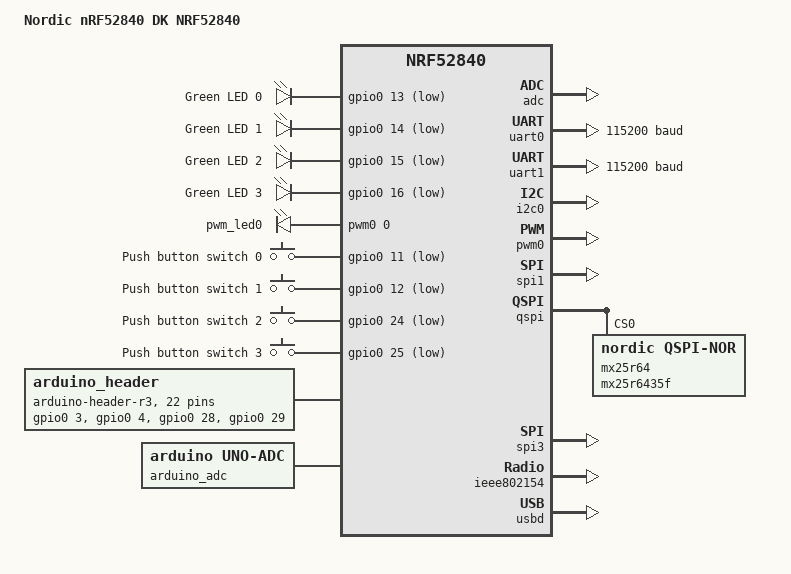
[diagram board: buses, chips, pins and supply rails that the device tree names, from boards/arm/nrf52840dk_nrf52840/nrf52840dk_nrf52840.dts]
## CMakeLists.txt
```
# SPDX-License-Identifier: Apache-2.0

cmake_minimum_required(VERSION 3.13.1)

find_package(Zephyr REQUIRED HINTS $ENV{ZEPHYR_BASE})
project(nrfx_sample)

target_sources(app PRIVATE src/main.c 
                           src/Comparator/CompHandler.c
                           src/PPI/PPIHandler.c
                           src/Timer/TimerHandler.c
                           src/CapSense/CapSense.c)

target_include_directories(app PRIVATE  src/PPI
                                        src/Comparator
                                        src/Timer
                                        src/CapSense
                                        src)
```

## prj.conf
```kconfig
CONFIG_GPIO=y
CONFIG_NRFX_COMP=y
CONFIG_NRFX_TIMER1=y
CONFIG_LOG=y
CONFIG_LOG_PROCESS_THREAD_SLEEP_MS=100 
```

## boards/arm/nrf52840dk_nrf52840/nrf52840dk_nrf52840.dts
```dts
/*
 * Copyright (c) 2017 Linaro Limited
 *
 * SPDX-License-Identifier: Apache-2.0
 */

/dts-v1/;
#include <nordic/nrf52840_qiaa.dtsi>
#include "nrf52840dk_nrf52840-pinctrl.dtsi"

/ {
	model = "Nordic nRF52840 DK NRF52840";
	compatible = "nordic,nrf52840-dk-nrf52840";

	chosen {
		zephyr,console = &uart0;
		zephyr,shell-uart = &uart0;
		zephyr,uart-mcumgr = &uart0;
		zephyr,bt-mon-uart = &uart0;
		zephyr,bt-c2h-uart = &uart0;
		zephyr,sram = &sram0;
		zephyr,flash = &flash0;
		zephyr,code-partition = &slot0_partition;
		zephyr,ieee802154 = &ieee802154;
	};

	leds {
		compatible = "gpio-leds";
		led0: led_0 {
			gpios = <&gpio0 13 GPIO_ACTIVE_LOW>;
			label = "Green LED 0";
		};
		led1: led_1 {
			gpios = <&gpio0 14 GPIO_ACTIVE_LOW>;
			label = "Green LED 1";
		};
		led2: led_2 {
			gpios = <&gpio0 15 GPIO_ACTIVE_LOW>;
			label = "Green LED 2";
		};
		led3: led_3 {
			gpios = <&gpio0 16 GPIO_ACTIVE_LOW>;
			label = "Green LED 3";
		};
	};
	
	powerpins {
		testpin0: testpin_0 {
			compatible = "eac,testpin";
			gpios = <&gpio1 11 GPIO_ACTIVE_LOW>;
			status = "okay";
		};
		testpin1: testpin_1 {
			compatible = "eac,testpin";
			gpios = <&gpio1 10 GPIO_ACTIVE_LOW>;
			status = "okay";
		};
	};
	
	pwmleds {
		compatible = "pwm-leds";
		pwm_led0: pwm_led_0 {
			pwms = <&pwm0 0 PWM_MSEC(20) PWM_POLARITY_INVERTED>;
		};
	};

	buttons {
		compatible = "gpio-keys";
		button0: button_0 {
			gpios = <&gpio0 11 (GPIO_PULL_UP | GPIO_ACTIVE_LOW)>;
			label = "Push button switch 0";
		};
		button1: button_1 {
			gpios = <&gpio0 12 (GPIO_PULL_UP | GPIO_ACTIVE_LOW)>;
			label = "Push button switch 1";
		};
		button2: button_2 {
			gpios = <&gpio0 24 (GPIO_PULL_UP | GPIO_ACTIVE_LOW)>;
			label = "Push button switch 2";
		};
		button3: button_3 {
			gpios = <&gpio0 25 (GPIO_PULL_UP | GPIO_ACTIVE_LOW)>;
			label = "Push button switch 3";
		};
	};

	arduino_header: connector {
		compatible = "arduino-header-r3";
		#gpio-cells = <2>;
		gpio-map-mask = <0xffffffff 0xffffffc0>;
		gpio-map-pass-thru = <0 0x3f>;
		gpio-map = <0 0 &gpio0 3 0>,	/* A0 */
			   <1 0 &gpio0 4 0>,	/* A1 */
			   <2 0 &gpio0 28 0>,	/* A2 */
			   <3 0 &gpio0 29 0>,	/* A3 */
			   <4 0 &gpio0 30 0>,	/* A4 */
			   <5 0 &gpio0 31 0>,	/* A5 */
			   <6 0 &gpio1 1 0>,	/* D0 */
			   <7 0 &gpio1 2 0>,	/* D1 */
			   <8 0 &gpio1 3 0>,	/* D2 */
			   <9 0 &gpio1 4 0>,	/* D3 */
			   <10 0 &gpio1 5 0>,	/* D4 */
			   <11 0 &gpio1 6 0>,	/* D5 */
			   <12 0 &gpio1 7 0>,	/* D6 */
			   <13 0 &gpio1 8 0>,	/* D7 */
			   <14 0 &gpio1 10 0>,	/* D8 */
			   <15 0 &gpio1 11 0>,	/* D9 */
			   <16 0 &gpio1 12 0>,	/* D10 */
			   <17 0 &gpio1 13 0>,	/* D11 */
			   <18 0 &gpio1 14 0>,	/* D12 */
			   <19 0 &gpio1 15 0>,	/* D13 */
			   <20 0 &gpio0 26 0>,	/* D14 */
			   <21 0 &gpio0 27 0>;	/* D15 */
	};

	arduino_adc: analog-connector {
		compatible = "arduino,uno-adc";
		#io-channel-cells = <1>;
		io-channel-map = <0 &adc 1>;	/* A0 = P0.3 = AIN1 */
	};

	/* These aliases are provided for compatibility with samples */
	aliases {
		led0 = &led0;
		led1 = &led1;
		led2 = &led2;
		led3 = &led3;
		pwm-led0 = &pwm_led0;
		testpin0 = &testpin0;
		testpin1 = &testpin1;
		sw0 = &button0;
		sw1 = &button1;
		sw2 = &button2;
		sw3 = &button3;
		bootloader-led0 = &led0;
		mcuboot-button0 = &button0;
		mcuboot-led0 = &led0;
		watchdog0 = &wdt0;
		spi-flash0 = &mx25r64;
	};
};

&adc {
	status = "okay";
};

&gpiote {
	status = "okay";
};

&gpio0 {
	status = "okay";
};

&gpio1 {
	status = "okay";
};

&uart0 {
	compatible = "nordic,nrf-uarte";
	status = "okay";
	current-speed = <115200>;
	pinctrl-0 = <&uart0_default>;
	pinctrl-1 = <&uart0_sleep>;
	pinctrl-names = "default", "sleep";
};

arduino_serial: &uart1 {
	current-speed = <115200>;
	pinctrl-0 = <&uart1_default>;
	pinctrl-1 = <&uart1_sleep>;
	pinctrl-names = "default", "sleep";
};

arduino_i2c: &i2c0 {
	compatible = "nordic,nrf-twi";
	status = "okay";
	pinctrl-0 = <&i2c0_default>;
	pinctrl-1 = <&i2c0_sleep>;
	pinctrl-names = "default", "sleep";
};

&i2c1 {
	compatible = "nordic,nrf-twi";
	/* Cannot be used together with spi1. */
	/* status = "okay"; */
	pinctrl-0 = <&i2c1_default>;
	pinctrl-1 = <&i2c1_sleep>;
	pinctrl-names = "default", "sleep";
};

&pwm0 {
	status = "okay";
	pinctrl-0 = <&pwm0_default>;
	pinctrl-1 = <&pwm0_sleep>;
	pinctrl-names = "default", "sleep";
};

&spi0 {
	compatible = "nordic,nrf-spi";
	/* Cannot be used together with i2c0. */
	/* status = "okay"; */
	pinctrl-0 = <&spi0_default>;
	pinctrl-1 = <&spi0_sleep>;
	pinctrl-names = "default", "sleep";
};

&spi1 {
	compatible = "nordic,nrf-spi";
	status = "okay";
	pinctrl-0 = <&spi1_default>;
	pinctrl-1 = <&spi1_sleep>;
	pinctrl-names = "default", "sleep";
};

&spi2 {
	compatible = "nordic,nrf-spi";
	status = "disabled";
	pinctrl-0 = <&spi2_default>;
	pinctrl-1 = <&spi2_sleep>;
	pinctrl-names = "default", "sleep";
};

&qspi {
	status = "okay";
	pinctrl-0 = <&qspi_default>;
	pinctrl-1 = <&qspi_sleep>;
	pinctrl-names = "default", "sleep";
	mx25r64: mx25r6435f@0 {
		compatible = "nordic,qspi-nor";
		reg = <0>;
		/* MX25R64 supports only pp and pp4io */
		writeoc = "pp4io";
		/* MX25R64 supports all readoc options */
		readoc = "read4io";
		sck-frequency = <8000000>;
		jedec-id = [c2 28 17];
		sfdp-bfp = [
			e5 20 f1 ff  ff ff ff 03  44 eb 08 6b  08 3b 04 bb
			ee ff ff ff  ff ff 00 ff  ff ff 00 ff  0c 20 0f 52
			10 d8 00 ff  23 72 f5 00  82 ed 04 cc  44 83 68 44
			30 b0 30 b0  f7 c4 d5 5c  00 be 29 ff  f0 d0 ff ff
		];
		size = <67108864>;
		has-dpd;
		t-enter-dpd = <10000>;
		t-exit-dpd = <35000>;
	};
};

arduino_spi: &spi3 {
	status = "okay";
	cs-gpios = <&arduino_header 16 GPIO_ACTIVE_LOW>; /* D10 */
	pinctrl-0 = <&spi3_default>;
	pinctrl-1 = <&spi3_sleep>;
	pinctrl-names = "default", "sleep";
};

&ieee802154 {
	status = "okay";
};

&flash0 {

	partitions {
		compatible = "fixed-partitions";
		#address-cells = <1>;
		#size-cells = <1>;

		boot_partition: partition@0 {
			label = "mcuboot";
			reg = <0x00000000 0x0000C000>;
		};
		slot0_partition: partition@c000 {
			label = "image-0";
			reg = <0x0000C000 0x00076000>;
		};
		slot1_partition: partition@82000 {
			label = "image-1";
			reg = <0x00082000 0x00076000>;
		};

		/*
		 * The flash starting at 0x000f8000 and ending at
		 * 0x000fffff is reserved for use by the application.
		 */

		/*
		 * Storage partition will be used by FCB/LittleFS/NVS
		 * if enabled.
		 */
		storage_partition: partition@f8000 {
			label = "storage";
			reg = <0x000f8000 0x00008000>;
		};
	};
};

zephyr_udc0: &usbd {
	compatible = "nordic,nrf-usbd";
	status = "okay";
};
```

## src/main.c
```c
/**
 * @file    : main.c
 * @brief   : Application entry
 * @author  : Adhil
 * @date    : 09-11-2023
 * @note 
*/

/***************************************INCLUDES*********************************/
#include "Common.h"
#include "CapSense/Capsense.h"
/***************************************MACROS**********************************/

/***************************************TYPEDEFS*********************************/

/***************************************GLOBALS*********************************/

/***************************************FUNCTION DECLARTAION*********************/

//void CapSenseEvt(_eCapSenseEvt eCapSenseEvt);

/***************************************FUNCTION DEFINITIONS*********************/
#if 0 /*Not used this for now will be adding the event handler for cap sense later*/
/**
 * @brief Cap sense event handler
*/
void CapSenseEvt(_eCapSenseEvt eCapSenseEvt)
{
	printk("\n\rTouch occured\n\r");
	return;
}
#endif

void main(void)
{
	_sCapSenseConfig sCapSenseConfig = 
	{
		.ulInput = 2,
		.ulOutput = 11
	};

	if (!CapSenseInit(&sCapSenseConfig))
	{
		printk("ERR: Cap sense init failed\n\r");
	}

	/*Cap sense event handler registering*/
	//CapSenseCallback(CapSenseEvt);

	while(1)
	{
		CapsenseSample();
		k_msleep(10);
		if (GetTouchSenseStatus())
		{
			printk("INFO: Touch occured\n\r");
			SetTouchSense(false);
		}
	}
}
```

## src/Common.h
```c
/**
 * @file    : Common.h
 * @brief   : File containing functions related to common config
 * @author  : Adhil
 * @date    : 09-11-2023
 * @note 
*/

/***************************************INCLUDES*********************************/
#include <zephyr/kernel.h>
#include <zephyr/device.h>
#include <zephyr/devicetree.h>
#include <zephyr/drivers/gpio.h>
#include <zephyr/logging/log.h>
#include <nrfx_gpiote.h>
#include <stdbool.h>
#include <stdlib.h>
/***************************************MACROS**********************************/

/***************************************TYPEDEFS*********************************/

/***************************************GLOBALS*********************************/

/***************************************FUNCTION DECLARTAION*********************/

/***************************************FUNCTION DEFINITIONS*********************/
```
